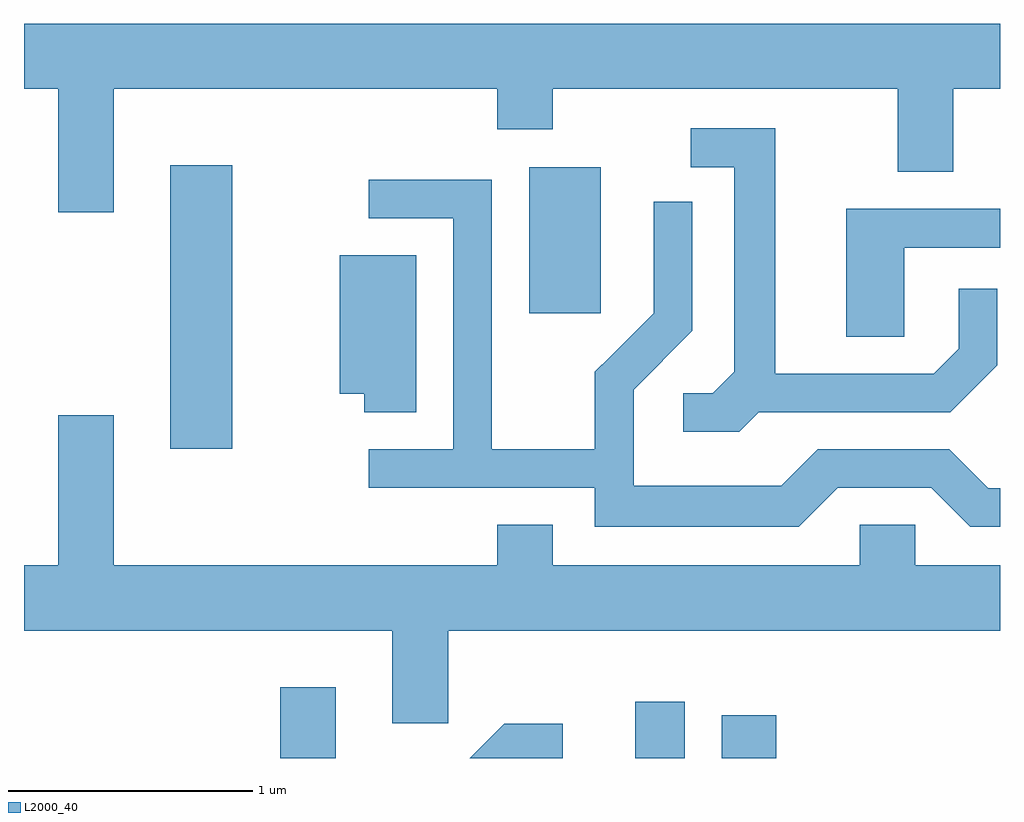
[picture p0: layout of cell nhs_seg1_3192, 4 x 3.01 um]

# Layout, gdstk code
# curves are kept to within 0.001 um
import gdstk
lib = gdstk.Library(unit=1e-6, precision=1e-09)
def R(c, l, rs):  # rectangles x0, y0, x1, y1
    for r in rs: c.add(gdstk.rectangle(r[:2], r[2:], *l))
def P(c, l, *ps):  # polygons
    for p in ps: c.add(gdstk.Polygon(p, *l))
L2000_40 = (2000, 40)

nhs_seg1_3192 = lib.new_cell('nhs_seg1_3192')
R(nhs_seg1_3192, L2000_40, [(282.661,905.712,282.889,906.004), (284.116,905.712,284.319,905.944), (284.471,905.712,284.694,905.889), (282.211,906.981,282.464,908.144), (283.681,907.536,283.974,908.134)])
P(nhs_seg1_3192, L2000_40, [(281.979,908.456),(283.551,908.456),(283.551,908.291),(283.779,908.291),(283.779,908.456),(285.191,908.456),(285.191,908.116),(285.419,908.116),(285.419,908.456),(285.611,908.456),(285.611,908.724),(281.611,908.724),(281.611,908.456),(281.751,908.456),(281.751,907.951),(281.979,907.951)],
  [(284.622,907.131),(285.407,907.131),(285.599,907.324),(285.599,907.638),(285.441,907.638),(285.441,907.392),(285.339,907.289),(284.689,907.289),(284.689,908.294),(284.343,908.294),(284.343,908.136),(284.521,908.136),(284.521,907.297),(284.434,907.209),(284.313,907.209),(284.313,907.051),(284.542,907.051)],
  [(284.947,906.821),(285.329,906.821),(285.489,906.661),(285.611,906.661),(285.611,906.819),(285.562,906.819),(285.402,906.979),(284.864,906.979),(284.714,906.829),(284.109,906.829),(284.109,907.224),(284.349,907.464),(284.349,907.993),(284.191,907.993),(284.191,907.537),(283.951,907.297),(283.951,906.979),(283.529,906.979),(283.529,908.084),(283.023,908.084),(283.023,907.926),(283.371,907.926),(283.371,906.979),(283.023,906.979),(283.023,906.821),(283.951,906.821),(283.951,906.661),(284.787,906.661)],
  [(285.219,907.806),(285.611,907.806),(285.611,907.964),(284.981,907.964),(284.981,907.441),(285.219,907.441)],
  [(283.219,907.774),(282.906,907.774),(282.906,907.206),(283.006,907.206),(283.006,907.131),(283.219,907.131)],
  [(283.349,906.236),(285.611,906.236),(285.611,906.504),(285.264,906.504),(285.264,906.669),(285.036,906.669),(285.036,906.504),(283.779,906.504),(283.779,906.669),(283.551,906.669),(283.551,906.504),(281.979,906.504),(281.979,907.119),(281.751,907.119),(281.751,906.504),(281.611,906.504),(281.611,906.236),(283.121,906.236),(283.121,905.856),(283.349,905.856)],
  [(283.818,905.854),(283.579,905.854),(283.437,905.712),(283.818,905.712)])

lib.write_gds('nhs_seg1_3192.gds')
